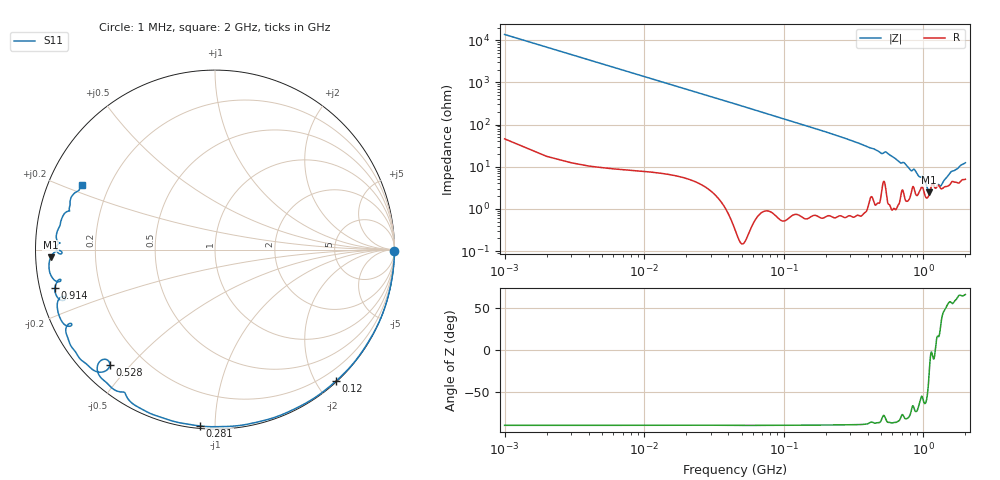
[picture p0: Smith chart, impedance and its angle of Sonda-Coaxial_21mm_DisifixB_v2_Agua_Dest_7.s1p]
! TOUCHSTONE file generated by CST MICROWAVE STUDIO
! Date and time: Tue Aug  4 15:55:31 2026
! Project name: Sonda-Coaxial_21mm_DisifixB_v2_Agua_Dest.cst
! Parameters = {h_recipiente=20; l_conector=5; r_arandela=35; r_ext=10.5; r_int=3; r_recipiente=50; z_recipiente=-60}
! Header version: 2018
! Port assignment regex: !\s*Touchstone port\s*([0-9]+)\s*=\s*(CST MWS port|CST DS port)\s*([0-9]+|Zmin|Zmax)\s*\(\"(.*)\"\)(\s*mode\s*([0-9]+))?.*
! Touchstone port assignment:
! Touchstone port 1 = CST MWS port 1 ("")
# GHz S RI R 50
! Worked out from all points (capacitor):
!   2000 points, 1 MHz to 2 GHz, reference 50 ohm
!   read as one part to ground: C = 11.6 pF near 11 MHz
!   lowest |Z| = 2.47 ohm at 1.1 GHz (marker M1)
!   series resonance near 1.217 GHz, so ESL is about 1.5 nH
!   S11 on the Smith chart (normalised r, x): 1 MHz: open; 120 MHz: 0.01, -2.28; 281 MHz: 0.01, -0.92; 528 MHz: 0.08, -0.44; 914 MHz: 0.04, -0.12; 2 GHz: 0.10, +0.23
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0.001  0.9999 -0.0073
0.055  0.9232 -0.3835
0.12  0.6736 -0.7327
0.183  0.3655 -0.9225
0.251  0.044 -0.986
0.281  -0.0819 -0.9829
0.395  -0.4614 -0.8561
0.474  -0.611 -0.7353
0.501  -0.6542 -0.6456
0.514  -0.6174 -0.6109
0.528  -0.5862 -0.641
0.551  -0.6605 -0.6796
0.634  -0.8011 -0.5392
0.693  -0.8172 -0.4155
0.715  -0.7991 -0.4221
0.751  -0.8558 -0.3962
0.822  -0.8623 -0.268
0.869  -0.86 -0.2812
0.914  -0.8926 -0.2149
0.96  -0.8701 -0.1675
1.001  -0.8765 -0.1791
1.049  -0.9218 -0.122
1.1  -0.9153 -0.0424
1.16  -0.8531 -0.014
1.251  -0.8739 0.0318
1.501  -0.8537 0.1729
1.751  -0.8078 0.2645
2  -0.7432 0.3593
